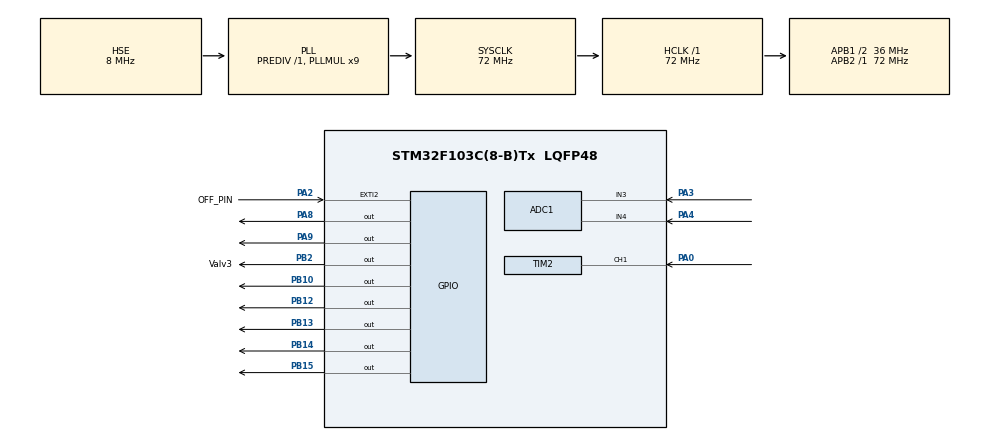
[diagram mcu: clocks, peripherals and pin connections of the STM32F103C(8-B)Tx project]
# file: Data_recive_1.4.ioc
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ADC1.Channel-0\#ChannelRegularConversion=ADC_CHANNEL_3
ADC1.ContinuousConvMode=ENABLE
ADC1.NbrOfConversionFlag=1
ADC1.Rank-0\#ChannelRegularConversion=1
ADC1.SamplingTime-0\#ChannelRegularConversion=ADC_SAMPLETIME_1CYCLE_5
ADC1.master=1
Dma.ADC1.0.Direction=DMA_PERIPH_TO_MEMORY
Dma.ADC1.0.Instance=DMA1_Channel1
Dma.ADC1.0.MemDataAlignment=DMA_MDATAALIGN_HALFWORD
Dma.ADC1.0.MemInc=DMA_MINC_ENABLE
Dma.ADC1.0.Mode=DMA_CIRCULAR
Dma.ADC1.0.PeriphDataAlignment=DMA_PDATAALIGN_HALFWORD
Dma.ADC1.0.PeriphInc=DMA_PINC_DISABLE
Dma.ADC1.0.Priority=DMA_PRIORITY_LOW
Dma.Request0=ADC1
Mcu.Family=STM32F1
Mcu.Name=STM32F103C(8-B)Tx
Mcu.Package=LQFP48
NVIC.DMA1_Channel1_IRQn=true\:0\:0\:false\:false\:true\:false\:true
NVIC.EXTI2_IRQn=true\:0\:0\:false\:false\:true\:true\:true
NVIC.PriorityGroup=NVIC_PRIORITYGROUP_4
NVIC.RTC_IRQn=true\:0\:0\:false\:false\:true\:true\:true
NVIC.TIM2_IRQn=true\:0\:0\:false\:false\:true\:true\:true
PA0-WKUP.Signal=S_TIM2_CH1_ETR
PA13.Mode=Serial_Wire
PA13.Signal=SYS_JTMS-SWDIO
PA14.Mode=Serial_Wire
PA14.Signal=SYS_JTCK-SWCLK
PA2.GPIO_Label=OFF_PIN
PA2.GPIO_ModeDefaultEXTI=GPIO_MODE_IT_FALLING
PA2.GPIO_PuPd=GPIO_PULLUP
PA2.Signal=GPXTI2
PA3.Signal=ADCx_IN3
PA4.Signal=ADCx_IN4
PA8.Signal=GPIO_Output
PA9.Signal=GPIO_Output
PB10.Signal=GPIO_Output
PB12.Signal=GPIO_Output
PB13.Signal=GPIO_Output
PB14.Signal=GPIO_Output
PB15.Signal=GPIO_Output
PB2.GPIO_Label=Valv3
PB2.Signal=GPIO_Output
PC14-OSC32_IN.Mode=LSE-External-Oscillator
PC14-OSC32_IN.Signal=RCC_OSC32_IN
PC15-OSC32_OUT.Mode=LSE-External-Oscillator
PC15-OSC32_OUT.Signal=RCC_OSC32_OUT
PD0-OSC_IN.Mode=HSE-External-Oscillator
PD0-OSC_IN.Signal=RCC_OSC_IN
PD1-OSC_OUT.Mode=HSE-External-Oscillator
PD1-OSC_OUT.Signal=RCC_OSC_OUT
ProjectManager.HeapSize=0x200
ProjectManager.StackSize=0x400
ProjectManager.TargetToolchain=MDK-ARM V5.27
RCC.ADCPresc=RCC_ADCPCLK2_DIV6
RCC.AHBFreq_Value=72000000
RCC.APB1CLKDivider=RCC_HCLK_DIV2
RCC.APB1Freq_Value=36000000
RCC.APB1TimFreq_Value=72000000
RCC.APB2Freq_Value=72000000
RCC.APB2TimFreq_Value=72000000
RCC.HCLKFreq_Value=72000000
RCC.PLLMUL=RCC_PLL_MUL9
RCC.PLLSourceVirtual=RCC_PLLSOURCE_HSE
RCC.RTCClockSelection=RCC_RTCCLKSOURCE_LSE
RCC.SYSCLKFreq_VALUE=72000000
RCC.SYSCLKSource=RCC_SYSCLKSOURCE_PLLCLK
RCC.USBFreq_Value=72000000
RTC.Format=RTC_FORMAT_BIN
SH.ADCx_IN3.0=ADC1_IN3,IN3
SH.ADCx_IN4.0=ADC1_IN4,IN4
SH.S_TIM2_CH1_ETR.0=TIM2_CH1,Input_Capture1_from_TI1
TIM2.Channel-Input_Capture1_from_TI1=TIM_CHANNEL_1
TIM2.Period=50000
TIM2.Prescaler=720
TIM4.Period=60000
TIM4.Prescaler=7200
VP_RTC_No_RTC_Output.Mode=RTC_OUT_NO
VP_RTC_VS_RTC_Activate.Mode=RTC_Enabled
VP_RTC_VS_RTC_Calendar.Mode=RTC_Calendar
VP_TIM2_VS_ClockSourceINT.Mode=Internal
VP_TIM4_VS_ClockSourceINT.Mode=Internal
board=custom

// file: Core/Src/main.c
/* USER CODE BEGIN Header */
/**
  ******************************************************************************
  * @file           : main.c
  * @brief          : Main program body
  ******************************************************************************
  * @attention
  *
  * <h2><center>&copy; Copyright (c) 2020 STMicroelectronics.
  * All rights reserved.</center></h2>
  *
  * This software component is licensed by ST under BSD 3-Clause license,
  * the "License"; You may not use this file except in compliance with the
  * License. You may obtain a copy of the License at:
  *                        opensource.org/licenses/BSD-3-Clause
  *
  ******************************************************************************
  */
/* USER CODE END Header */
#include "main.h"

/* USER CODE BEGIN Includes */
#include "string.h"
#include "stdio.h"
#include "math.h"
/* USER CODE END Includes */

/* USER CODE BEGIN PTD */
#define IDLE   0
#define DONE   1
#define F_CLK  72000000UL
/* USER CODE END PTD */

/* USER CODE BEGIN PD */
//Common variables init
int T_Pulse = 0;
int State_Number=0;
int State_Sequence[20] = {0};
uint8_t DecimalArr[35] = {'\0'};
uint8_t FreqArr[10] = {'\0'};
volatile char decimal = 0;
volatile uint8_t gu8_State = IDLE;
volatile char NESS_FQ = 0;
volatile char NESS_DR = 0;
volatile char NESS_SQ = 1;
volatile char NESS_OFF = 0;
volatile uint8_t gu8_MSG[35] = {'\0'};
volatile uint32_t gu32_T1 = 0;
volatile uint32_t gu32_T2 = 0;
volatile uint32_t gu32_Ticks = 0;
volatile uint16_t gu16_TIM2_OVC = 0;
volatile uint32_t gu32_Freq = 0;
volatile uint16_t ClosedTime;
volatile uint16_t ChangeState;
volatile uint16_t a = 0;
volatile uint16_t b = 0;

//ADC variables init
//0. ADC_State status flag
char ADC_State = 0;
//1. ADC value
volatile uint16_t ADCVal;
//2.Voltage
volatile double Voltage;
//3. VDDA
volatile double VDDA = 3.316; // Set the VDDA value here.
//4. Temperature
volatile uint16_t TemperatureEdge;
//5.Divider
double base = 2;
double power = 12;
double T_div = 0.005;
double div;
volatile uint16_t Temperature;   // Measured Temperature Value

//RTC variables init
//0. RTC status flag
char RTC_State = 0;
//1.RTC global counter
volatile uint16_t counter;
volatile uint16_t der_count;
volatile uint16_t off_count;

/* USER CODE END PD */

ADC_HandleTypeDef hadc1;
DMA_HandleTypeDef hdma_adc1;

RTC_HandleTypeDef hrtc;

TIM_HandleTypeDef htim2;
TIM_HandleTypeDef htim4;

void SystemClock_Config(void);
static void MX_GPIO_Init(void);
static void MX_DMA_Init(void);
static void MX_TIM4_Init(void);
static void MX_TIM2_Init(void);
static void MX_ADC1_Init(void);
static void MX_RTC_Init(void);
/* USER CODE BEGIN PFP */
//Following: LED interface; indicate current algorithm's code Number. later algorithm's code Number = int decimal
void LED_I_O (int exam){
		int word[6];
		for(int num = 0; num < 6; num++){
			word[num] = (exam >> num) & 00000001;
		}
		if (word[0] == 0){
			HAL_GPIO_WritePin(GPIOB, GPIO_PIN_12, GPIO_PIN_SET);
		}
		if (word[0] == 1) {
			HAL_GPIO_WritePin(GPIOB, GPIO_PIN_12, GPIO_PIN_RESET);
		}
		if (word[1] == 0) {
			HAL_GPIO_WritePin(GPIOB, GPIO_PIN_13, GPIO_PIN_SET);
		}
		if (word[1] == 1) {
			HAL_GPIO_WritePin(GPIOB, GPIO_PIN_13, GPIO_PIN_RESET);
		}
		if (word[2] == 0) {
			HAL_GPIO_WritePin(GPIOB, GPIO_PIN_14, GPIO_PIN_SET);
		}
		if (word[2] == 1) {
			HAL_GPIO_WritePin(GPIOB, GPIO_PIN_14, GPIO_PIN_RESET);
		}
		if (word[3] == 0) {
			HAL_GPIO_WritePin(GPIOB, GPIO_PIN_15, GPIO_PIN_SET);
		}
		if (word[3] == 1) {
			HAL_GPIO_WritePin(GPIOB, GPIO_PIN_15, GPIO_PIN_RESET);
		}
		if (word[4] == 0) {
			HAL_GPIO_WritePin(GPIOA, GPIO_PIN_8, GPIO_PIN_SET);
		}
		if (word[4] == 1) {
			HAL_GPIO_WritePin(GPIOA, GPIO_PIN_8, GPIO_PIN_RESET);
		}
		if (word[5] == 0) {
			HAL_GPIO_WritePin(GPIOA, GPIO_PIN_9, GPIO_PIN_SET);
		}
		if (word[5] == 1) {
			HAL_GPIO_WritePin(GPIOA, GPIO_PIN_9, GPIO_PIN_RESET);
		}
	}

//Following: decoder of "raw input data" from Data Recieve
void SequenceAnalyze(int State_Sequence[]){
		decimal = 0;
		int bin[20] = {0};
		int bin_number = 0;
		int count_num = 0;
		for(int num = 0; num < 20; num++){
			if (State_Sequence[num]!= 0){
			count_num++;
			}
		}
		for (int i = 0; i < count_num; i++){
			if ((i % 2) == 0){
				int n0 = (State_Sequence[i] + (State_Sequence[0] + 1) / 2)/State_Sequence[0];
				for (int k = 0; k < n0; k++){
					bin[bin_number] = 0;
					bin_number++;
				}
			} else {

			if ((i % 2) == 1){
				int n1 = (State_Sequence[i] + (State_Sequence[0] + 1) / 2)/State_Sequence[0];
				for (int k = 0; k < n1; k++){
					bin[bin_number] = 1;
					bin_number++;
					}
				}
			}
		}

		for(int z = 2; z <= 7; z++){
			decimal=decimal + bin[z] * pow(2,(z - 2));
		}
		LED_I_O(decimal);
		for(int f = 0; f < 20; f++){
			bin[f] = 0;
			State_Sequence[f] = 0;
			}
		State_Number = 0;
}

//Following: function of reading information, transmitted via state sequence of ON and OFF
void Data_Recieve (){
	if (NESS_DR == 1){
		while (HAL_GPIO_ReadPin(GPIOA, GPIO_PIN_2) == SET){};
		TIM4->CNT= 0;
			loop1:
		while (HAL_GPIO_ReadPin(GPIOA, GPIO_PIN_2) == RESET){}
		T_Pulse=TIM4->CNT;
		State_Sequence[State_Number]=T_Pulse;
		State_Number++;
		TIM4->CNT= 0;
			loop2:
		if (HAL_GPIO_ReadPin(GPIOA, GPIO_PIN_2) == SET){

			if((TIM4->CNT)>(State_Sequence[0]*7)){
				T_Pulse=State_Sequence[0]*7;
				State_Sequence[State_Number]=T_Pulse;
				SequenceAnalyze(State_Sequence);
				NESS_DR=0;
			} else { goto loop2;}

		} else {
			T_Pulse=TIM4->CNT;
			State_Sequence[State_Number]=T_Pulse;
			State_Number++;
			TIM4->CNT= 0;
			goto loop1;
		}
	}
}

/*Following: RTC Action function declaration
	RTC_Action (ClosedTime, ChangeState )
	ClosedTime (0-65355) time of valve closed state   (seconds)
	ChangeState (0-65355) - time of valve state changing (seconds)
*/
void RTC_Action(ClosedTime, ChangeState){
if (RTC_State == 1){
	 if (counter > ChangeState){
		 counter = 0;
	 RTC_State = 0;
	HAL_GPIO_WritePin(GPIOB, GPIO_PIN_2, GPIO_PIN_SET);	 //open valve, visit black mesa
	}
}

else{
	if (counter > ChangeState + ClosedTime){
		counter = 0;
		RTC_State = 1;
		HAL_GPIO_WritePin(GPIOB, GPIO_PIN_2, GPIO_PIN_RESET); // reset valve
		}
	}
}
/*Following: ADC Action function declaration
	ADC_Action (TemperatureEdge, ChangeState)
	TemperatureEdge (0-65355) - valve triggering temperature value (Celsius)
	ChangeState (0-65355) - time of valve state changing (seconds)

*/
void ADC_Action(TemperatureEdge, ChangeState){
	HAL_ADC_Stop_DMA(&hadc1);
	div = (pow(base,power));
	Voltage = ((ADCVal / div) * VDDA);
	Temperature = Voltage / T_div;
 if (Temperature > TemperatureEdge){
	HAL_GPIO_WritePin(GPIOB, GPIO_PIN_2, GPIO_PIN_RESET); // Open valve, release black mesa;
	ADC_State = 1;
	 if (counter == ChangeState){  //
	 HAL_GPIO_WritePin(GPIOB, GPIO_PIN_2, GPIO_PIN_SET);	 // Close valve
		ADC_State = 0;
		counter = 0;
	 }
 }
 else if (Temperature < TemperatureEdge){
	HAL_GPIO_WritePin(GPIOB, GPIO_PIN_2, GPIO_PIN_SET);	 // Close valve
	ADC_State = 0;
 }
}

void Derivative(void){
if (gu32_Freq < 390){
	int a = gu32_Freq;
	 int i = 0;
	 for (der_count; der_count < 10;){
		 int b = a;
		 int a = gu32_Freq;
		 if (b == a) {
				for (der_count; der_count < 10;){
					FreqArr[i] = gu32_Freq;
					i++;}
				i = 0;
				der_count = 0;
				}
			}
		}
	}

int Abs(X,Y){
 if ((X - Y) < 0) {
		return (X - Y) * (-1);}
 else{
	 return (X - Y);
	}
}
/* USER CODE END PFP */

int main(void)
{

  /* MCU Configuration--------------------------------------------------------*/

  /* Reset of all peripherals, Initializes the Flash interface and the Systick. */
  HAL_Init();

  /* Configure the system clock */
  SystemClock_Config();

  /* Initialize all configured peripherals */
  MX_GPIO_Init();
  MX_DMA_Init();
  MX_TIM4_Init();
  MX_TIM2_Init();
  MX_ADC1_Init();
  MX_RTC_Init();
  /* USER CODE BEGIN 2 */
	HAL_TIM_IC_Start_IT(&htim2, TIM_CHANNEL_1);
	HAL_TIM_Base_Start(&htim4); //"timer for time_of_state identification via Data Recieve"
	HAL_RTCEx_SetSecond_IT(&hrtc);
	HAL_NVIC_EnableIRQ(EXTI1_IRQn);
  /* USER CODE END 2 */

  /* Infinite loop */
  /* USER CODE BEGIN WHILE */
  while (1)
  {
		NESS_FQ = 2;
		HAL_Delay(400); //NB somehow improve this part
		if (gu32_Freq > 390){
			NESS_SQ = 1;
		der_count = 0;}
		if (gu32_Freq <= 390 && gu32_Freq > 200){
			NESS_FQ = 0;
			NESS_DR = 1;
			ADC_State = 1;
			RTC_State = 1;
			//Derivative();
			//Data_Recieve();
			HAL_Delay(400);
		} else {
		LED_I_O(0);
		HAL_Delay(400);
		if (decimal > 0){
			if (decimal < 11) {
				HAL_ADC_Start_DMA(&hadc1, (uint32_t*)&ADCVal,1);
		}
		else {
				HAL_RTCEx_SetSecond_IT(&hrtc);
				}
			}
	 }
    /* USER CODE END WHILE */

  }
}

void SystemClock_Config(void)
{
  RCC_OscInitTypeDef RCC_OscInitStruct = {0};
  RCC_ClkInitTypeDef RCC_ClkInitStruct = {0};
  RCC_PeriphCLKInitTypeDef PeriphClkInit = {0};

  /** Initializes the RCC Oscillators according to the specified parameters
  * in the RCC_OscInitTypeDef structure.
  */
  RCC_OscInitStruct.OscillatorType = RCC_OSCILLATORTYPE_HSE|RCC_OSCILLATORTYPE_LSE;
  RCC_OscInitStruct.HSEState = RCC_HSE_ON;
  RCC_OscInitStruct.HSEPredivValue = RCC_HSE_PREDIV_DIV1;
  RCC_OscInitStruct.LSEState = RCC_LSE_ON;
  RCC_OscInitStruct.HSIState = RCC_HSI_ON;
  RCC_OscInitStruct.PLL.PLLState = RCC_PLL_ON;
  RCC_OscInitStruct.PLL.PLLSource = RCC_PLLSOURCE_HSE;
  RCC_OscInitStruct.PLL.PLLMUL = RCC_PLL_MUL9;
  if (HAL_RCC_OscConfig(&RCC_OscInitStruct) != HAL_OK)
  {
    Error_Handler();
  }
  /** Initializes the CPU, AHB and APB buses clocks
  */
  RCC_ClkInitStruct.ClockType = RCC_CLOCKTYPE_HCLK|RCC_CLOCKTYPE_SYSCLK
                              |RCC_CLOCKTYPE_PCLK1|RCC_CLOCKTYPE_PCLK2;
  RCC_ClkInitStruct.SYSCLKSource = RCC_SYSCLKSOURCE_PLLCLK;
  RCC_ClkInitStruct.AHBCLKDivider = RCC_SYSCLK_DIV1;
  RCC_ClkInitStruct.APB1CLKDivider = RCC_HCLK_DIV2;
  RCC_ClkInitStruct.APB2CLKDivider = RCC_HCLK_DIV1;

  if (HAL_RCC_ClockConfig(&RCC_ClkInitStruct, FLASH_LATENCY_2) != HAL_OK)
  {
    Error_Handler();
  }
  PeriphClkInit.PeriphClockSelection = RCC_PERIPHCLK_RTC|RCC_PERIPHCLK_ADC;
  PeriphClkInit.RTCClockSelection = RCC_RTCCLKSOURCE_LSE;
  PeriphClkInit.AdcClockSelection = RCC_ADCPCLK2_DIV6;
  if (HAL_RCCEx_PeriphCLKConfig(&PeriphClkInit) != HAL_OK)
  {
    Error_Handler();
  }
}

static void MX_ADC1_Init(void)
{

  ADC_ChannelConfTypeDef sConfig = {0};

  /** Common config
  */
  hadc1.Instance = ADC1;
  hadc1.Init.ScanConvMode = ADC_SCAN_DISABLE;
  hadc1.Init.ContinuousConvMode = ENABLE;
  hadc1.Init.DiscontinuousConvMode = DISABLE;
  hadc1.Init.ExternalTrigConv = ADC_SOFTWARE_START;
  hadc1.Init.DataAlign = ADC_DATAALIGN_RIGHT;
  hadc1.Init.NbrOfConversion = 1;
  if (HAL_ADC_Init(&hadc1) != HAL_OK)
  {
    Error_Handler();
  }
  /** Configure Regular Channel
  */
  sConfig.Channel = ADC_CHANNEL_3;
  sConfig.Rank = ADC_REGULAR_RANK_1;
  sConfig.SamplingTime = ADC_SAMPLETIME_1CYCLE_5;
  if (HAL_ADC_ConfigChannel(&hadc1, &sConfig) != HAL_OK)
  {
    Error_Handler();
  }

}

static void MX_RTC_Init(void)
{

  RTC_TimeTypeDef sTime = {0};
  RTC_DateTypeDef DateToUpdate = {0};

  /** Initialize RTC Only
  */
  hrtc.Instance = RTC;
  hrtc.Init.AsynchPrediv = RTC_AUTO_1_SECOND;
  hrtc.Init.OutPut = RTC_OUTPUTSOURCE_NONE;
  if (HAL_RTC_Init(&hrtc) != HAL_OK)
  {
    Error_Handler();
  }

  /** Initialize RTC and set the Time and Date
  */
  sTime.Hours = 0;
  sTime.Minutes = 0;
  sTime.Seconds = 0;

  if (HAL_RTC_SetTime(&hrtc, &sTime, RTC_FORMAT_BIN) != HAL_OK)
  {
    Error_Handler();
  }
  DateToUpdate.WeekDay = RTC_WEEKDAY_MONDAY;
  DateToUpdate.Month = RTC_MONTH_JANUARY;
  DateToUpdate.Date = 1;
  DateToUpdate.Year = 0;

  if (HAL_RTC_SetDate(&hrtc, &DateToUpdate, RTC_FORMAT_BIN) != HAL_OK)
  {
    Error_Handler();
  }

}

static void MX_TIM2_Init(void)
{

  TIM_ClockConfigTypeDef sClockSourceConfig = {0};
  TIM_MasterConfigTypeDef sMasterConfig = {0};
  TIM_IC_InitTypeDef sConfigIC = {0};

  htim2.Instance = TIM2;
  htim2.Init.Prescaler = 720;
  htim2.Init.CounterMode = TIM_COUNTERMODE_UP;
  htim2.Init.Period = 50000;
  htim2.Init.ClockDivision = TIM_CLOCKDIVISION_DIV1;
  htim2.Init.AutoReloadPreload = TIM_AUTORELOAD_PRELOAD_DISABLE;
  if (HAL_TIM_Base_Init(&htim2) != HAL_OK)
  {
    Error_Handler();
  }
  sClockSourceConfig.ClockSource = TIM_CLOCKSOURCE_INTERNAL;
  if (HAL_TIM_ConfigClockSource(&htim2, &sClockSourceConfig) != HAL_OK)
  {
    Error_Handler();
  }
  if (HAL_TIM_IC_Init(&htim2) != HAL_OK)
  {
    Error_Handler();
  }
  sMasterConfig.MasterOutputTrigger = TIM_TRGO_RESET;
  sMasterConfig.MasterSlaveMode = TIM_MASTERSLAVEMODE_DISABLE;
  if (HAL_TIMEx_MasterConfigSynchronization(&htim2, &sMasterConfig) != HAL_OK)
  {
    Error_Handler();
  }
  sConfigIC.ICPolarity = TIM_INPUTCHANNELPOLARITY_RISING;
  sConfigIC.ICSelection = TIM_ICSELECTION_DIRECTTI;
  sConfigIC.ICPrescaler = TIM_ICPSC_DIV1;
  sConfigIC.ICFilter = 0;
  if (HAL_TIM_IC_ConfigChannel(&htim2, &sConfigIC, TIM_CHANNEL_1) != HAL_OK)
  {
    Error_Handler();
  }

}

static void MX_TIM4_Init(void)
{

  TIM_ClockConfigTypeDef sClockSourceConfig = {0};
  TIM_MasterConfigTypeDef sMasterConfig = {0};

  htim4.Instance = TIM4;
  htim4.Init.Prescaler = 7200;
  htim4.Init.CounterMode = TIM_COUNTERMODE_UP;
  htim4.Init.Period = 60000;
  htim4.Init.ClockDivision = TIM_CLOCKDIVISION_DIV1;
  htim4.Init.AutoReloadPreload = TIM_AUTORELOAD_PRELOAD_DISABLE;
  if (HAL_TIM_Base_Init(&htim4) != HAL_OK)
  {
    Error_Handler();
  }
  sClockSourceConfig.ClockSource = TIM_CLOCKSOURCE_INTERNAL;
  if (HAL_TIM_ConfigClockSource(&htim4, &sClockSourceConfig) != HAL_OK)
  {
    Error_Handler();
  }
  sMasterConfig.MasterOutputTrigger = TIM_TRGO_RESET;
  sMasterConfig.MasterSlaveMode = TIM_MASTERSLAVEMODE_DISABLE;
  if (HAL_TIMEx_MasterConfigSynchronization(&htim4, &sMasterConfig) != HAL_OK)
  {
    Error_Handler();
  }

}

static void MX_DMA_Init(void)
{

  /* DMA controller clock enable */
  __HAL_RCC_DMA1_CLK_ENABLE();

  /* DMA interrupt init */
  /* DMA1_Channel1_IRQn interrupt configuration */
  HAL_NVIC_SetPriority(DMA1_Channel1_IRQn, 0, 0);
  HAL_NVIC_EnableIRQ(DMA1_Channel1_IRQn);

}

static void MX_GPIO_Init(void)
{
  GPIO_InitTypeDef GPIO_InitStruct = {0};

  /* GPIO Ports Clock Enable */
  __HAL_RCC_GPIOC_CLK_ENABLE();
  __HAL_RCC_GPIOD_CLK_ENABLE();
  __HAL_RCC_GPIOA_CLK_ENABLE();
  __HAL_RCC_GPIOB_CLK_ENABLE();

  /*Configure GPIO pin Output Level */
  HAL_GPIO_WritePin(GPIOB, Valv3_Pin|GPIO_PIN_10|GPIO_PIN_12|GPIO_PIN_13
                          |GPIO_PIN_14|GPIO_PIN_15, GPIO_PIN_RESET);

  /*Configure GPIO pin Output Level */
  HAL_GPIO_WritePin(GPIOA, GPIO_PIN_8|GPIO_PIN_9, GPIO_PIN_RESET);

  /*Configure GPIO pin : OFF_PIN_Pin */
  GPIO_InitStruct.Pin = OFF_PIN_Pin;
  GPIO_InitStruct.Mode = GPIO_MODE_IT_FALLING;
  GPIO_InitStruct.Pull = GPIO_PULLUP;
  HAL_GPIO_Init(OFF_PIN_GPIO_Port, &GPIO_InitStruct);

  /*Configure GPIO pins : Valv3_Pin PB10 PB12 PB13
                           PB14 PB15 */
  GPIO_InitStruct.Pin = Valv3_Pin|GPIO_PIN_10|GPIO_PIN_12|GPIO_PIN_13
                          |GPIO_PIN_14|GPIO_PIN_15;
  GPIO_InitStruct.Mode = GPIO_MODE_OUTPUT_PP;
  GPIO_InitStruct.Pull = GPIO_NOPULL;
  GPIO_InitStruct.Speed = GPIO_SPEED_FREQ_LOW;
  HAL_GPIO_Init(GPIOB, &GPIO_InitStruct);

  /*Configure GPIO pins : PA8 PA9 */
  GPIO_InitStruct.Pin = GPIO_PIN_8|GPIO_PIN_9;
  GPIO_InitStruct.Mode = GPIO_MODE_OUTPUT_PP;
  GPIO_InitStruct.Pull = GPIO_NOPULL;
  GPIO_InitStruct.Speed = GPIO_SPEED_FREQ_LOW;
  HAL_GPIO_Init(GPIOA, &GPIO_InitStruct);

  /* EXTI interrupt init*/
  HAL_NVIC_SetPriority(EXTI2_IRQn, 0, 0);
  HAL_NVIC_EnableIRQ(EXTI2_IRQn);

}

/* USER CODE BEGIN 4 */
//Following: UART transmit data function callback
void HAL_TIM_IC_CaptureCallback(TIM_HandleTypeDef* htim)
{
	if(NESS_FQ > 0){
		TIM2->CCR1=0;
		if(gu8_State == IDLE)
		{
			gu32_T1 = TIM2->CCR1;
			gu16_TIM2_OVC = 0;
			gu8_State = DONE;
		}
		else if(gu8_State == DONE)
		{
			gu32_T2 = TIM2->CCR1;
			gu32_Ticks = gu32_T2 - gu32_T1;
			gu32_Freq = (uint32_t)(F_CLK/(gu32_Ticks * 720));
			gu8_State = IDLE;
		}
	NESS_FQ--;
} else {
}
}

void HAL_TIM_PeriodElapsedCallback(TIM_HandleTypeDef* htim1)
{
	gu16_TIM2_OVC++;
}

void HAL_RTCEx_RTCEventCallback(RTC_HandleTypeDef *hrtc){
 // RTC interrupt handler           (
	counter++;
	der_count++;
	if (gu32_Freq < 390 && NESS_SQ == 1 && gu32_Freq >= 259){
		a = gu32_Freq;
		if (Abs(a,b) <= 1) {
			if (der_count == 8) {
				decimal = ceil((a - 260) / 5) ;
				der_count = 0;
				NESS_SQ = 0;}
			else{
				b = a;}}
		else{
		b = a;
		der_count = 0;
		}
	}

	if (NESS_OFF == 1){
		off_count++;
		if (off_count >= 120){
			HAL_GPIO_WritePin(GPIOB, GPIO_PIN_2, GPIO_PIN_RESET);
			if (off_count >= 150){
				//NB, modify by addin gpio B10 (power supply control)
			}
			NESS_OFF = 0;
			off_count = 0;
	}
}
	 //Sorting by split
	if (decimal <= 12){
		if (decimal <= 6){
			if (decimal == 1){        //1T
			ADC_Action(80, 30); // ADC_Action(TemperatureEdge, ChangeState)
			}
			else if (decimal == 2){  //2T
			ADC_Action(90, 30);
			}
			else if (decimal == 3) {   //3T
			ADC_Action(100, 30);
			}
			else if (decimal == 4) {   //4T
			ADC_Action(110, 30);
			}
			else if (decimal == 5) {  //5T
			ADC_Action(120, 30);
			}
		else if (decimal == 6) {   //6T
		ADC_Action(130, 30);
		}
	}
		else if (decimal == 7) {  //7T
		ADC_Action(140, 30);
		}
		else if (decimal == 8) {   //8T
		ADC_Action(150, 30);
		}
		else if (decimal == 9) {   //9T
		ADC_Action(160, 30);
		}
		else if (decimal == 10) {  //10T
		ADC_Action(170, 30);   }

		if (decimal == 11) {   //1B
	RTC_Action(50, 30); // RTC_Action(ClosedTime, ChangeState)
	}
	else if (decimal == 12) {   //2B
	RTC_Action(60, 30);
	}
}
	else if (decimal <= 18)
	{
		if (decimal == 13) {   //3B
	RTC_Action(70, 30);
	}
	else if (decimal == 14) {   //4B
	RTC_Action(80, 30);
	}
	else if (decimal == 15) {   //5B
	RTC_Action(90, 30);
	}

	else if (decimal == 16) {   //6B
	RTC_Action(100, 30);
	}
	else if (decimal == 17) {   //7B
	RTC_Action(110, 30);
	}
	else if (decimal == 18) {   //8B
	RTC_Action(120, 30);
	}
}
	else if (decimal == 19) {   //9B
	RTC_Action(130, 30);
	}
	else if (decimal == 20) {   //10B
	RTC_Action(140, 30);
	}
	else if (decimal == 21) {   //11B
	RTC_Action(150, 30);
	}
	else if (decimal == 22) {   //12B
	RTC_Action(160, 30);
	}
	else if (decimal == 23) {   //13B
	RTC_Action(170, 30);
	}
	else if (decimal == 24) {   //14B
	RTC_Action(180, 30);

	}
}

 void HAL_GPIO_EXTI_Callback(uint16_t GPIO_Pin)
 {
	 UNUSED(GPIO_Pin);
	 if (GPIO_Pin == OFF_PIN_Pin)
	 {
	if (NESS_OFF == 1){
	 NESS_OFF = 0;
		off_count = 0;}
	else {
	NESS_OFF = 1;}
	 }
 }
/* USER CODE END 4 */

void Error_Handler(void)
{
}

/************************ (C) COPYRIGHT STMicroelectronics *****END OF FILE****/
